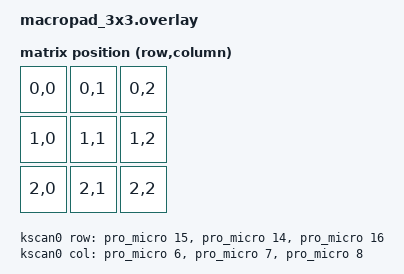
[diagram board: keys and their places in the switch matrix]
/*
 * Copyright (c) 2020 The ZMK Contributors
 *
 * SPDX-License-Identifier: MIT
 */

#include <dt-bindings/zmk/matrix_transform.h>

/ {
    default_transform: keymap_transform_0 {
    compatible = "zmk,matrix-transform";
    columns = <3>;
    rows = <3>;
    map = 
       <RC(0,0) RC(0,1) RC(0,2)
        RC(1,0) RC(1,1) RC(1,2)
        RC(2,0) RC(2,1) RC(2,2)
        >;
    };

chosen {
    zmk,kscan = &kscan0;
    zmk,matrix_transform = &default_transform;
};

    kscan0: kscan {
        compatible = "zmk,kscan-gpio-matrix";
        label = "KSCAN";
        diode-direction = "col2row";

        col-gpios
            = <&pro_micro 6 GPIO_ACTIVE_HIGH>
            , <&pro_micro 7 GPIO_ACTIVE_HIGH>
            , <&pro_micro 8 GPIO_ACTIVE_HIGH>
            ;

        row-gpios
            = <&pro_micro 15 (GPIO_ACTIVE_HIGH | GPIO_PULL_DOWN)>
            , <&pro_micro 14 (GPIO_ACTIVE_HIGH | GPIO_PULL_DOWN)>
            , <&pro_micro 16 (GPIO_ACTIVE_HIGH | GPIO_PULL_DOWN)>
            ;
    };
};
